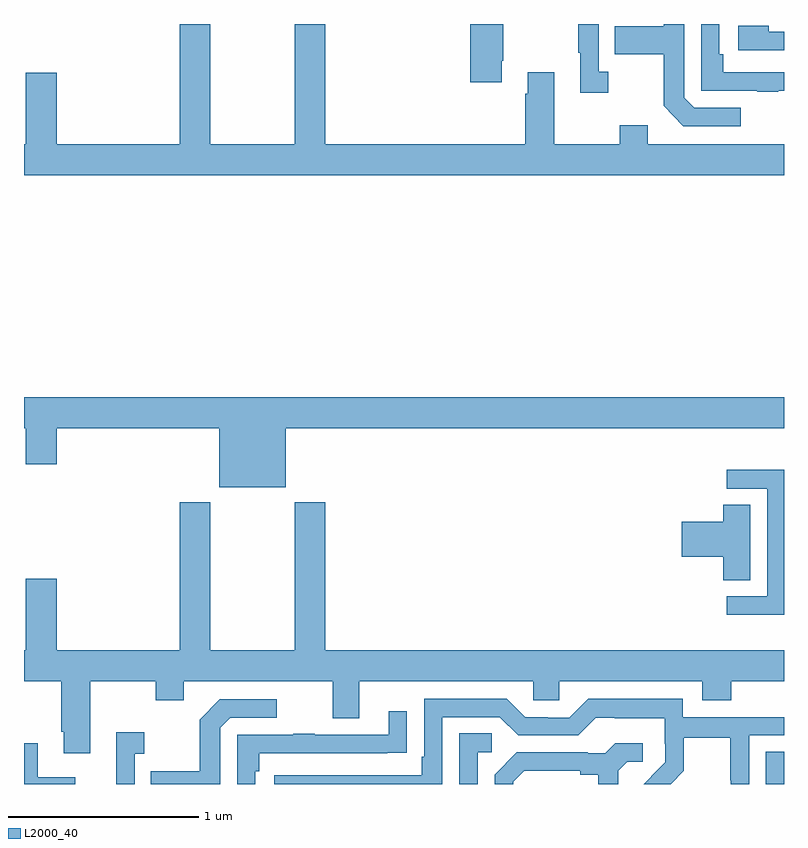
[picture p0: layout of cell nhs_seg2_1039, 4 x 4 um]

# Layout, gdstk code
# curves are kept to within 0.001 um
import gdstk
lib = gdstk.Library(unit=1e-6, precision=1e-09)
def R(c, l, rs):  # rectangles x0, y0, x1, y1
    for r in rs: c.add(gdstk.rectangle(r[:2], r[2:], *l))
def P(c, l, *ps):  # polygons
    for p in ps: c.add(gdstk.Polygon(p, *l))
L2000_40 = (2000, 40)

nhs_seg2_1039 = lib.new_cell('nhs_seg2_1039')
R(nhs_seg2_1039, L2000_40, [(168.905,609.8,169,609.971)])
P(nhs_seg2_1039, L2000_40, [(168.971,613.449),(169,613.449),(169,613.545),(168.68,613.545),(168.68,613.642),(168.66,613.642),(168.66,613.8),(168.564,613.8),(168.564,613.449),(168.859,613.449),(168.859,613.444),(168.971,613.444)],
  [(169,613.168),(168.283,613.168),(168.283,613.267),(168.136,613.267),(168.136,613.168),(167.791,613.168),(167.791,613.546),(167.651,613.546),(167.651,613.433),(167.639,613.433),(167.639,613.168),(166.586,613.168),(166.586,613.8),(166.426,613.8),(166.426,613.168),(165.981,613.168),(165.981,613.8),(165.821,613.8),(165.821,613.168),(165.172,613.168),(165.172,613.543),(165.008,613.543),(165.008,613.168),(165,613.168),(165,613.004),(169,613.004)],
  [(168.772,613.359),(168.528,613.359),(168.474,613.413),(168.474,613.8),(168.366,613.8),(168.366,613.789),(168.109,613.789),(168.109,613.642),(168.366,613.642),(168.366,613.369),(168.471,613.263),(168.772,613.263)],
  [(167.515,613.606),(167.523,613.606),(167.523,613.8),(167.348,613.8),(167.348,613.494),(167.515,613.494)],
  [(168.076,613.55),(168.024,613.55),(168.024,613.8),(167.916,613.8),(167.916,613.649),(167.927,613.649),(167.927,613.437),(168.076,613.437)],
  [(169,613.758),(168.92,613.758),(168.92,613.792),(168.759,613.792),(168.759,613.662),(169,613.662)],
  [(166.378,611.672),(169,611.672),(169,611.836),(165,611.836),(165,611.672),(165.008,611.672),(165.008,611.484),(165.172,611.484),(165.172,611.672),(166.028,611.672),(166.028,611.363),(166.378,611.363)],
  [(169,611.454),(168.699,611.454),(168.699,611.355),(168.912,611.355),(168.912,610.788),(168.699,610.788),(168.699,610.692),(169,610.692)],
  [(165.349,610.34),(165.694,610.34),(165.694,610.241),(165.841,610.241),(165.841,610.34),(166.625,610.34),(166.625,610.146),(166.765,610.146),(166.765,610.34),(167.679,610.34),(167.679,610.242),(167.817,610.242),(167.817,610.34),(168.569,610.34),(168.569,610.241),(168.722,610.241),(168.722,610.34),(169,610.34),(169,610.504),(166.586,610.504),(166.586,611.284),(166.426,611.284),(166.426,610.504),(165.981,610.504),(165.981,611.284),(165.821,611.284),(165.821,610.504),(165.172,610.504),(165.172,610.879),(165.008,610.879),(165.008,610.504),(165,610.504),(165,610.34),(165.197,610.34),(165.197,610.075),(165.209,610.075),(165.209,609.963),(165.349,609.963)],
  [(168.823,611.27),(168.68,611.27),(168.68,611.18),(168.462,611.18),(168.462,610.997),(168.68,610.997),(168.68,610.873),(168.823,610.873)],
  [(167.202,610.152),(167.505,610.152),(167.601,610.056),(167.916,610.056),(168.009,610.149),(168.109,610.149),(168.109,610.145),(168.372,610.145),(168.372,610.011),(168.374,610.011),(168.374,609.914),(168.262,609.8),(168.404,609.8),(168.473,609.869),(168.473,610.044),(168.718,610.044),(168.718,609.82),(168.72,609.82),(168.72,609.8),(168.816,609.8),(168.816,610.056),(169,610.056),(169,610.152),(168.468,610.152),(168.468,610.249),(167.971,610.249),(167.871,610.149),(167.756,610.149),(167.756,610.152),(167.637,610.152),(167.541,610.248),(167.106,610.248),(167.106,609.943),(167.093,609.943),(167.093,609.846),(166.317,609.846),(166.317,609.8),(167.202,609.8)],
  [(166.032,610.095),(166.086,610.149),(166.33,610.149),(166.33,610.245),(166.029,610.245),(165.924,610.139),(165.924,609.867),(165.667,609.867),(165.667,609.8),(166.032,609.8)],
  [(166.218,609.866),(166.238,609.866),(166.238,609.963),(166.913,609.963),(166.913,609.964),(167.015,609.964),(167.015,610.183),(166.919,610.183),(166.919,610.059),(166.529,610.059),(166.529,610.064),(166.417,610.064),(166.417,610.059),(166.122,610.059),(166.122,609.8),(166.218,609.8)],
  [(165.582,609.959),(165.634,609.959),(165.634,610.072),(165.485,610.072),(165.485,609.8),(165.582,609.8)],
  [(167.388,609.966),(167.461,609.966),(167.461,610.067),(167.292,610.067),(167.292,609.8),(167.388,609.8)],
  [(165.271,609.835),(165.073,609.835),(165.073,610.015),(165,610.015),(165,609.8),(165.271,609.8)],
  [(167.575,609.813),(167.632,609.87),(167.927,609.87),(167.927,609.848),(168.023,609.848),(168.023,609.8),(168.127,609.8),(168.127,609.871),(168.174,609.918),(168.256,609.918),(168.256,610.015),(168.112,610.015),(168.06,609.963),(167.966,609.963),(167.966,609.966),(167.594,609.966),(167.478,609.85),(167.478,609.8),(167.575,609.8)])

lib.write_gds('nhs_seg2_1039.gds')
